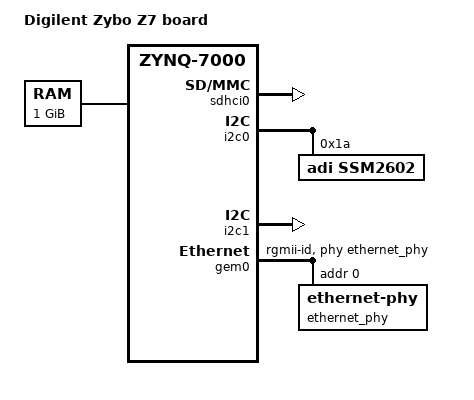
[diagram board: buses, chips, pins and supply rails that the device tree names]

/ {
        model = "Digilent Zybo Z7 board";
        compatible = "digilent,zynq-zybo-z7", "xlnx,zynq-7000";

	memory@0 {
		device_type = "memory";
		reg = <0x0 0x40000000>;
	};

        aliases {
                ethernet0 = &gem0;
                serial0 = &uart1;
                i2c1 = "/amba/i2c@e0005000";
        };

        chosen {
		bootargs = "earlycon uio_pdrv_genirq.of_id=generic-uio root=/dev/mmcblk0p2 rootfstype=ext4 rw rootwait";
	};

        reserved-memory {
                #address-cells = <1>;
                #size-cells = <1>;
                ranges;

                reserved: buffer@0x38000000 {
                       no-map;
                       reg = <0x38000000 0x08000000>;
                };
        };

        reserved-driver@0 {
                compatible = "xlnx,reserved-memory";
                memory-region = <&reserved>;
        };

};

&sdhci0 {
        status = "okay";
};

&i2c0 {
        status = "okay";
        ssm2602: ssm2602@1a {
                compatible = "adi,ssm2602";
                reg = <0x1a>;
        };
};

&i2c1 {
        status = "okay";
};

&gem0 {
        status = "okay";
        phy-mode = "rgmii-id";
        phy-handle = <&ethernet_phy>;

        ethernet_phy: ethernet-phy@0 {
                reg = <0>;
                device_type = "ethernet-phy";
        };
};

&syfala {
        compatible = "generic-uio";
};

